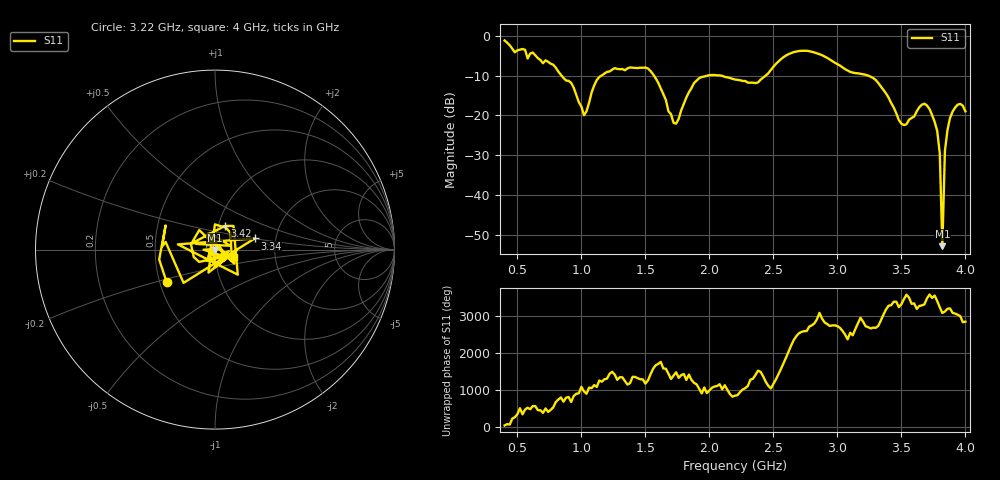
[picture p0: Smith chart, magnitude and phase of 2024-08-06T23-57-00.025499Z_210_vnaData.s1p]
!Created with skrf (http://scikit-rf.org).
# Hz S RI R 50.0
!freq ReS11 ImS11
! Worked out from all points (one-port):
!   181 points, 400 MHz to 4 GHz, reference 50 ohm
!   lowest |S11| = -52.8 dB at 3.82 GHz (marker M1), VSWR 1.00, Z = 49.8 - j0.135 ohm
!   |S11| at or under -10 dB: 1.567 GHz to 1.987 GHz (420.1 MHz wide, 23.6 % of centre); 2.089 GHz to 2.44 GHz (351.3 MHz wide, 15.5 % of centre); 3.239 GHz to end of sweep (the widest 3 of 4)
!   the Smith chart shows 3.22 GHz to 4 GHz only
!   S11 on the Smith chart (normalised r, x): 3.22 GHz: 0.54, -0.22; 3.34 GHz: 1.55, +0.20; 3.42 GHz: 1.08, +0.29; 4 GHz: 1.23, -0.10
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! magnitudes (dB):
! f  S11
! 400 MHz  -1.2
! 860 MHz  -10.6
! 920 MHz  -11.8
! 1.02 GHz  -19.9
! 1.12 GHz  -11.1
! 1.3 GHz  -8.4
! 1.52 GHz  -8.2
! 1.6 GHz  -11.8
! 1.72 GHz  -21.9
! 1.76 GHz  -20.8
! 1.92 GHz  -10.6
! 2.2 GHz  -11.0
! 2.38 GHz  -11.7
! 2.66 GHz  -4.1
! 3.1 GHz  -9.1
! 3.22 GHz  -9.8
! 3.34 GHz  -12.8
! 3.42 GHz  -16.9
! 3.5 GHz  -22.1
! 3.56 GHz  -21.1
! 3.68 GHz  -17.1
! 3.78 GHz  -23.9
! 3.8 GHz  -29.5
! 3.82 GHz  -52.8
! 3.84 GHz  -28.9
! 3.86 GHz  -23.7
! 3.94 GHz  -17.3
! 4 GHz  -19.0
